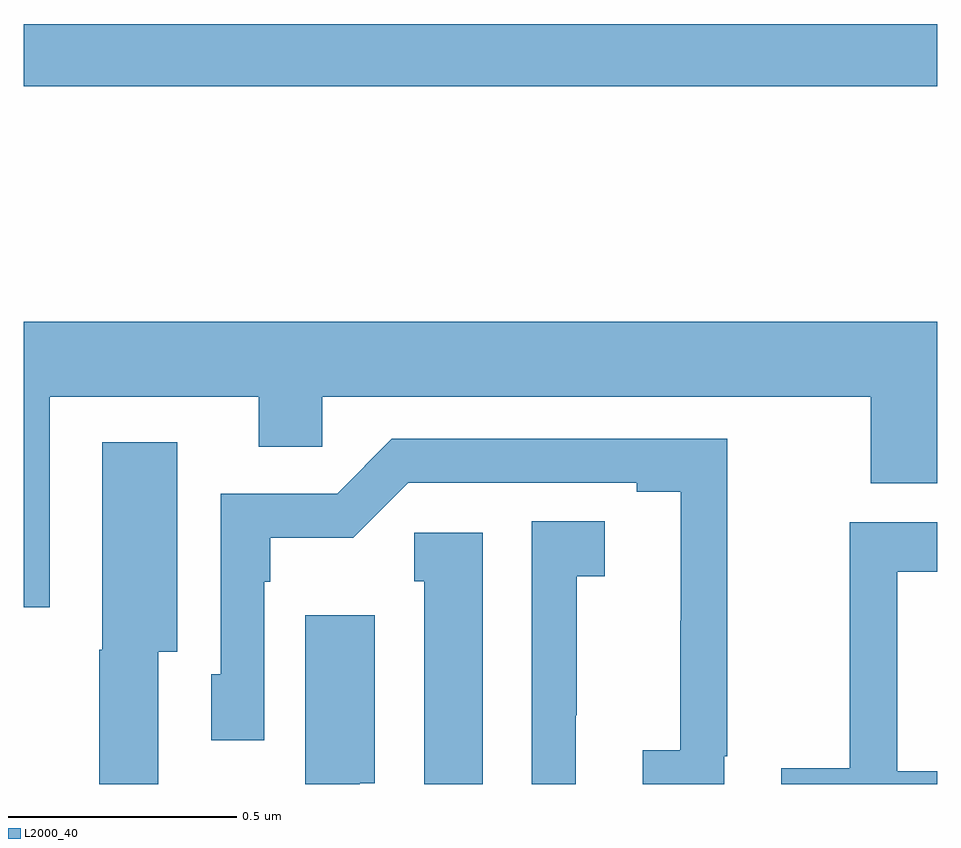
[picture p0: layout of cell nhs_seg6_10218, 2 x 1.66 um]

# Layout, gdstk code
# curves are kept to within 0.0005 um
import gdstk
lib = gdstk.Library(unit=1e-6, precision=1e-09)
def R(c, l, rs):  # rectangles x0, y0, x1, y1
    for r in rs: c.add(gdstk.rectangle(r[:2], r[2:], *l))
def P(c, l, *ps):  # polygons
    for p in ps: c.add(gdstk.Polygon(p, *l))
L2000_40 = (2000, 40)

nhs_seg6_10218 = lib.new_cell('nhs_seg6_10218')
R(nhs_seg6_10218, L2000_40, [(244,936.028,246,936.164)])
P(nhs_seg6_10218, L2000_40, [(244.057,935.348),(244.514,935.348),(244.514,935.238),(244.653,935.238),(244.653,935.348),(245.854,935.348),(245.854,935.158),(246,935.158),(246,935.512),(244,935.512),(244,934.887),(244.057,934.887)],
  [(245.534,934.561),(245.54,934.561),(245.54,935.256),(244.806,935.256),(244.686,935.136),(244.431,935.136),(244.431,934.74),(244.41,934.74),(244.41,934.596),(244.527,934.596),(244.527,934.943),(244.54,934.943),(244.54,935.039),(244.721,935.039),(244.842,935.16),(245.342,935.16),(245.342,935.14),(245.438,935.14),(245.437,934.574),(245.355,934.574),(245.355,934.5),(245.534,934.5)],
  [(244.294,934.79),(244.336,934.79),(244.336,935.248),(244.172,935.248),(244.172,934.794),(244.165,934.794),(244.165,934.5),(244.294,934.5)],
  [(245.209,934.651),(245.211,934.651),(245.211,934.955),(245.272,934.955),(245.272,935.075),(245.112,935.075),(245.112,934.5),(245.209,934.5)],
  [(246,934.528),(245.912,934.528),(245.912,934.965),(246,934.965),(246,935.073),(245.809,935.073),(245.809,934.535),(245.658,934.535),(245.658,934.5),(246,934.5)],
  [(245.005,935.05),(244.855,935.05),(244.855,934.944),(244.877,934.944),(244.877,934.5),(245.005,934.5)],
  [(244.736,934.502),(244.768,934.502),(244.768,934.87),(244.616,934.87),(244.616,934.5),(244.736,934.5)])

lib.write_gds('nhs_seg6_10218.gds')
